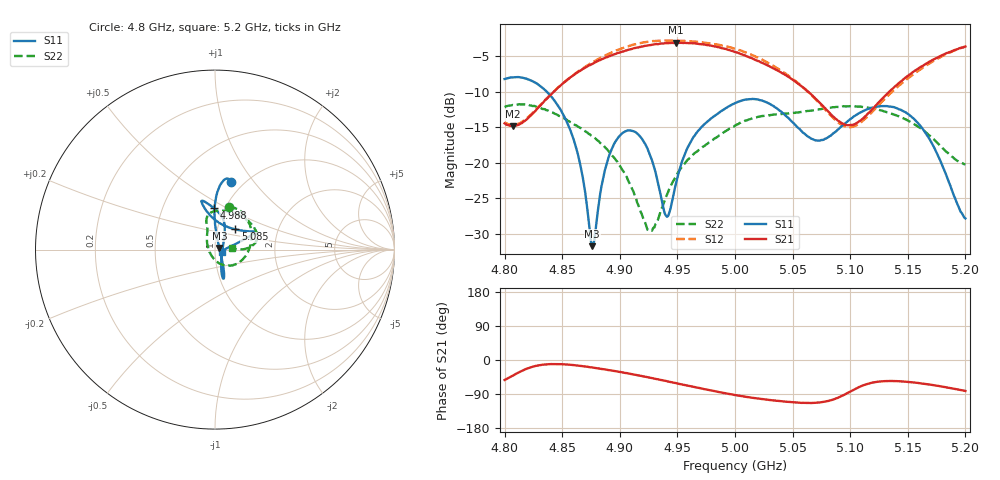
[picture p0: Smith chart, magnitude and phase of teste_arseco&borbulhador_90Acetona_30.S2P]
! Network Analyzer HP8722D
! Hewlett-Packard
! Data name: Linha & Wilkinson
! Saver's name: Rodrigo Anjos
! Comments: Teste da utilização de aquisição
! continua pelo VNA HP8722D
! Time and date: 17/4/2025 11:18
!  Frequency  S11  S21  S12  S22
# HZ  S  MA R 50
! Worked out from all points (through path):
!   401 points, 4.8 GHz to 5.2 GHz, reference 50 ohm
!   highest |S21| = -3.07 dB at 4.949 GHz (marker M1); lowest = -14.8 dB at 4.807 GHz (marker M2)
!   lowest |S11| = -31.8 dB at 4.876 GHz (marker M3), VSWR 1.05, Z = 52.5 + j0.936 ohm
!   |S11| at or under -10 dB: 4.837 GHz to end of sweep
!   |S22| runs from -29.6 to -11.7 dB; largest |S21 - S12| = 1.4
!   S11 on the Smith chart (normalised r, x): 4.8 GHz: 0.87, +0.78; 4.988 GHz: 0.89, +0.43; 5.085 GHz: 1.22, +0.28; 5.2 GHz: 1.08, -0.03
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4.8e9  0.3894 76.8  0.1894 -52.7  0.1927 82.2  0.2469 71.8
4.807e9  0.4009 78.8  0.1812 -41.5  0.1843 92.4  0.2556 66.2
4.844e9  0.2691 89.5  0.3245 -10.7  0.3247 122.7  0.2211 22.4
4.858e9  0.1617 90.0  0.4047 -12.9  0.4061 122.4  0.1918 1.6
4.867e9  0.08578 84.1  0.4541 -16.0  0.4584 121.0  0.1738 -12.3
4.876e9  0.02577 20.2  0.4972 -19.7  0.5095 118.7  0.1544 -26.8
4.889e9  0.1007 -63.7  0.5554 -25.7  0.5804 114.4  0.1243 -46.4
4.902e9  0.1611 -71.7  0.6065 -32.5  0.642 108.8  0.08942 -66.4
4.924e9  0.1259 -73.4  0.6722 -45.4  0.7121 96.6  0.0337 -137.7
4.934e9  0.06697 -57.5  0.6891 -51.7  0.7261 90.1  0.04167 160.3
4.941e9  0.04153 -6.6  0.699 -55.9  0.7278 85.9  0.05959 138.0
4.949e9  0.07262 47.5  0.7021 -61.0  0.7287 80.7  0.08092 123.8
4.963e9  0.1474 68.7  0.6967 -70.2  0.7152 72.1  0.1125 111.9
4.988e9  0.2313 91.6  0.6443 -85.7  0.674 55.8  0.1595 107.7
5e9  0.2635 99.9  0.6039 -92.6  0.6374 48.4  0.1827 104.6
5.029e9  0.263 105.6  0.4827 -105.0  0.5052 33.4  0.2165 87.8
5.067e9  0.147 76.6  0.2991 -113.2  0.2968 27.6  0.2335 54.3
5.085e9  0.1604 45.0  0.2127 -104.7  0.2078 38.3  0.2466 37.2
5.104e9  0.2141 28.5  0.1875 -76.8  0.1813 67.7  0.2496 22.4
5.134e9  0.2494 23.2  0.3172 -55.4  0.3038 90.9  0.2245 8.9
5.165e9  0.1641 18.7  0.4946 -63.2  0.4792 84.9  0.1655 1.1
5.2e9  0.04045 -17.3  0.6597 -81.7  0.6611 67.4  0.09726 5.5
